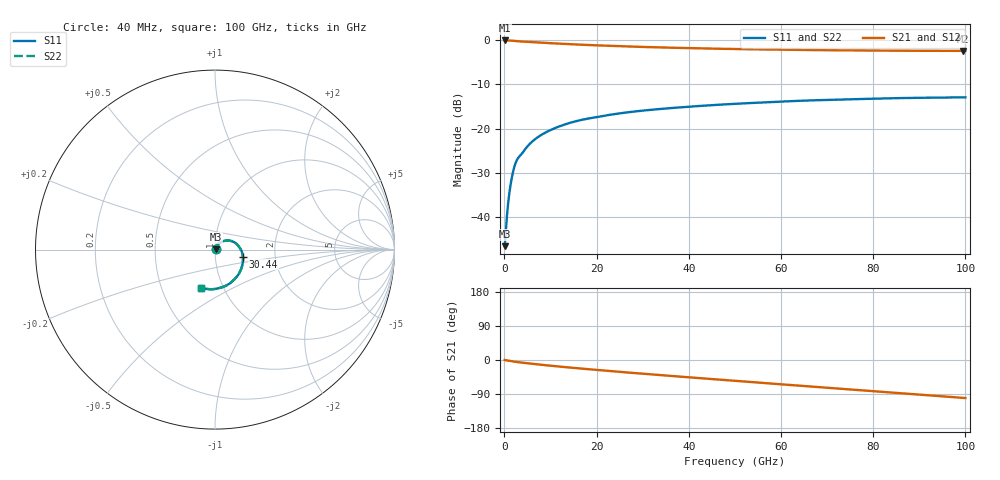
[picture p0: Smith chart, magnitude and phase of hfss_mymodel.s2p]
! Touchstone file exported from HFSS 2022.2.0
!  File:  C:/Users/dkcdn/Desktop/Davit/Via Model/Ansys/Ansys Examples/Via Exmp 1/Project1.aedt
!  Generated:  3:12:28 PM  Oct 23, 2024
!  Design:  HFSSDesign1
!  Project:  Project1
!  Setup:  Setup1
!  Solution:  Sweep
! Variables:
!  a = 1600
!  h = 15.3
!  ra = 15
!  ro = 4
!  t = 1.3
# GHz S MA R 50.000000
! Terminal data exported
! Port[1] = via_1
! Port[2] = via_2
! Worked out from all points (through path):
!   2500 points, 40 MHz to 100 GHz, reference 50 ohm
!   highest |S21| = -0.04 dB at 40 MHz (marker M1); lowest = -2.4 dB at 99.44 GHz (marker M2)
!   group delay of S21, straight-line fit = 2.66 ps
!   lowest |S11| = -46.6 dB at 40 MHz (marker M3), VSWR 1.01, Z = 50.5 + j0.0697 ohm
!   |S11| at or under -10 dB: start of sweep to end of sweep
!   |S22| runs from -46.6 to -12.9 dB; largest |S21 - S12| = 7.6e-14
!   S11 on the Smith chart (normalised r, x): 40 MHz: 1.01, +0.00; 30.44 GHz: 1.36, -0.11; 100 GHz: 0.78, -0.35
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0.04  0.00466 8.5  0.9954 -0.1  0.9954 -0.1  0.00466 8.5
! Gamma 0.0561080526646101 1.68189607859527 0.0561107675739098 1.68190220183336
! Port Impedance 50 0 50 0
0.32  0.007042 46.4  0.9947 -0.7  0.9947 -0.7  0.007042 46.4
0.76  0.01352 64.2  0.994 -1.6  0.994 -1.6  0.01352 64.2
0.96  0.01677 66.5  0.9933 -2.0  0.9933 -2.0  0.01677 66.5
1.2  0.02081 67.5  0.9922 -2.5  0.9922 -2.5  0.02081 67.5
1.44  0.02493 67.3  0.9907 -3.0  0.9907 -3.0  0.02493 67.3
1.8  0.03115 65.4  0.9877 -3.7  0.9877 -3.7  0.03115 65.4
2.16  0.03703 62.2  0.9838 -4.4  0.9838 -4.4  0.03703 62.2
2.56  0.04249 57.9  0.979 -5.1  0.979 -5.1  0.04249 57.9
2.96  0.04639 54.1  0.9746 -5.6  0.9746 -5.6  0.04639 54.1
5.52  0.06728 44.9  0.9569 -9.3  0.9569 -9.3  0.06728 44.9
8.04  0.08499 36.7  0.9394 -12.6  0.9394 -12.6  0.08499 36.7
11.92  0.1059 26.0  0.9158 -17.4  0.9158 -17.4  0.1059 26.0
16.72  0.1255 13.9  0.8904 -22.7  0.8904 -22.7  0.1255 13.9
23.96  0.1461 -1.4  0.8612 -30.2  0.8612 -30.2  0.1461 -1.4
30.44  0.1606 -14.2  0.8393 -36.6  0.8393 -36.6  0.1606 -14.2
33.36  0.166 -19.7  0.8311 -39.4  0.8311 -39.4  0.166 -19.7
50.04  0.1908 -47.5  0.7958 -55.0  0.7958 -55.0  0.1908 -47.5
66.68  0.2087 -70.9  0.7745 -70.2  0.7745 -70.2  0.2087 -70.9
83.36  0.2202 -91.8  0.7628 -85.4  0.7628 -85.4  0.2202 -91.8
99.44  0.2259 -109.9  0.7583 -99.9  0.7583 -99.9  0.2259 -109.9
100  0.2259 -110.5  0.7584 -100.4  0.7584 -100.4  0.2259 -110.5
